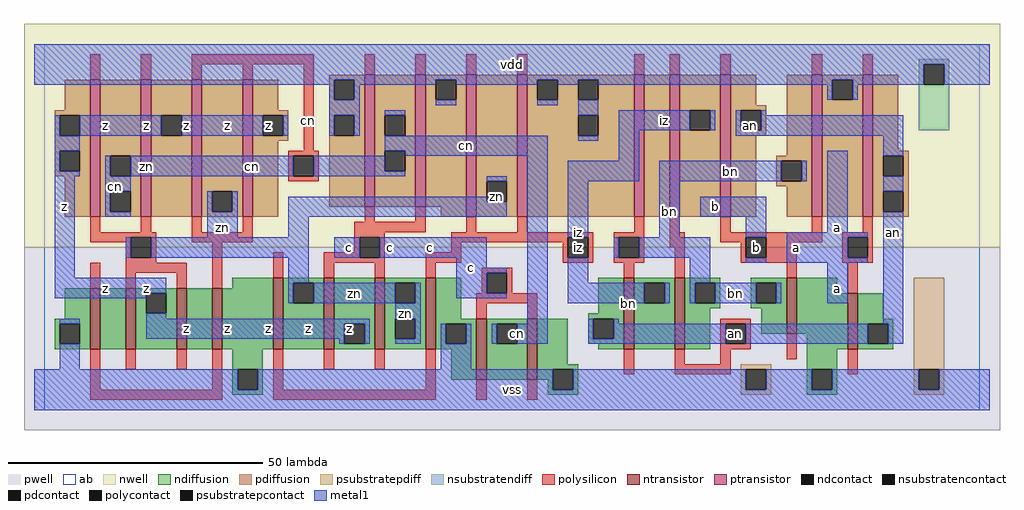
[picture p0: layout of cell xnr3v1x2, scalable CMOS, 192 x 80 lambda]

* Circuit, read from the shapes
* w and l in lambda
.subckt xnr3v1x2 a an b bn c cn iz vdd vss z zn
M1 n1 cn vss vss nfet w=12 l=2
M2 z zn n1 vss nfet w=12 l=2
M3 n2 zn z vss nfet w=12 l=2
M4 vss cn n2 vss nfet w=12 l=2
M5 zn iz vss vss nfet w=14 l=2 m=2
M6 z c zn vss nfet w=14 l=2 m=2
M7 cn c vss vss nfet w=12 l=2 m=2
M8 iz bn an vss nfet w=14 l=2
M9 bn an iz vss nfet w=14 l=2
M10 vss b bn vss nfet w=11 l=2
M11 an a vss vss nfet w=11 l=2
M12 cn zn z vdd pfet w=27 l=2 m=2
M13 zn cn z vdd pfet w=27 l=2 m=2
M14 cn c vdd vdd pfet w=26 l=2 m=2
M15 zn iz vdd vdd pfet w=28 l=2 m=2
M16 n3 bn vdd vdd pfet w=28 l=2
M17 iz an n3 vdd pfet w=28 l=2
M18 an b iz vdd pfet w=28 l=2
M19 vdd b bn vdd pfet w=28 l=2
M20 an a vdd vdd pfet w=28 l=2
.ends

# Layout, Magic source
magic
tech scmos
<< ab >>
rect 0 0 184 72
<< pwell >>
rect -4 -4 188 32
<< nwell >>
rect -4 32 188 76
<< polysilicon >>
rect 9 65 11 70
rect 19 65 21 70
rect 29 68 53 70
rect 29 65 31 68
rect 39 65 41 68
rect 51 51 53 68
rect 63 66 65 70
rect 73 66 75 70
rect 83 66 85 70
rect 93 66 95 70
rect 116 66 118 70
rect 123 66 125 70
rect 133 66 135 70
rect 151 66 153 70
rect 161 66 163 70
rect 48 50 54 51
rect 48 46 49 50
rect 53 46 54 50
rect 48 45 54 46
rect 9 35 11 38
rect 19 35 21 38
rect 29 35 31 38
rect 39 35 41 38
rect 63 37 65 40
rect 73 37 75 40
rect 9 34 22 35
rect 9 33 17 34
rect 16 30 17 33
rect 21 30 22 34
rect 29 33 41 35
rect 61 35 75 37
rect 83 35 85 38
rect 93 35 95 38
rect 116 35 118 38
rect 61 34 67 35
rect 16 29 22 30
rect 9 24 11 29
rect 16 27 28 29
rect 16 24 18 27
rect 26 24 28 27
rect 33 24 35 33
rect 61 31 62 34
rect 45 26 47 31
rect 55 30 62 31
rect 66 30 67 34
rect 80 34 108 35
rect 80 33 103 34
rect 80 31 82 33
rect 55 29 67 30
rect 55 26 57 29
rect 65 26 67 29
rect 75 29 82 31
rect 102 30 103 33
rect 107 30 108 34
rect 102 29 108 30
rect 112 34 118 35
rect 112 30 113 34
rect 117 30 118 34
rect 123 35 125 38
rect 133 35 135 38
rect 151 35 153 38
rect 161 35 163 38
rect 123 32 126 35
rect 133 34 153 35
rect 133 33 138 34
rect 112 29 118 30
rect 75 26 77 29
rect 86 27 92 28
rect 86 23 87 27
rect 91 23 92 27
rect 114 26 116 29
rect 124 26 126 32
rect 137 30 138 33
rect 142 33 153 34
rect 157 34 163 35
rect 142 30 148 33
rect 137 29 148 30
rect 157 30 158 34
rect 162 30 163 34
rect 157 29 163 30
rect 146 26 148 29
rect 85 21 97 23
rect 85 18 87 21
rect 95 18 97 21
rect 9 4 11 12
rect 16 8 18 12
rect 26 8 28 12
rect 33 4 35 12
rect 9 2 35 4
rect 45 4 47 12
rect 55 8 57 12
rect 65 8 67 12
rect 75 4 77 12
rect 133 17 139 18
rect 133 13 134 17
rect 138 13 139 17
rect 158 23 160 29
rect 133 12 139 13
rect 45 2 77 4
rect 85 2 87 6
rect 95 2 97 6
rect 114 7 116 12
rect 124 9 126 12
rect 133 9 135 12
rect 146 10 148 15
rect 124 7 135 9
rect 158 7 160 12
<< ndiffusion >>
rect 37 24 45 26
rect 4 18 9 24
rect 2 17 9 18
rect 2 13 3 17
rect 7 13 9 17
rect 2 12 9 13
rect 11 12 16 24
rect 18 23 26 24
rect 18 19 20 23
rect 24 19 26 23
rect 18 12 26 19
rect 28 12 33 24
rect 35 12 45 24
rect 47 25 55 26
rect 47 21 49 25
rect 53 21 55 25
rect 47 12 55 21
rect 57 17 65 26
rect 57 13 59 17
rect 63 13 65 17
rect 57 12 65 13
rect 67 25 75 26
rect 67 21 69 25
rect 73 21 75 25
rect 67 18 75 21
rect 67 14 69 18
rect 73 14 75 18
rect 67 12 75 14
rect 77 18 82 26
rect 109 19 114 26
rect 107 18 114 19
rect 77 17 85 18
rect 77 13 79 17
rect 83 13 85 17
rect 77 12 85 13
rect 37 8 43 12
rect 37 4 38 8
rect 42 4 43 8
rect 37 3 43 4
rect 80 6 85 12
rect 87 17 95 18
rect 87 13 89 17
rect 93 13 95 17
rect 87 6 95 13
rect 97 9 103 18
rect 107 14 108 18
rect 112 14 114 18
rect 107 13 114 14
rect 109 12 114 13
rect 116 25 124 26
rect 116 21 118 25
rect 122 21 124 25
rect 116 12 124 21
rect 126 25 133 26
rect 126 21 128 25
rect 132 21 133 25
rect 126 20 133 21
rect 139 25 146 26
rect 139 21 140 25
rect 144 21 146 25
rect 139 20 146 21
rect 126 12 131 20
rect 141 15 146 20
rect 148 23 156 26
rect 148 15 158 23
rect 97 8 105 9
rect 97 6 100 8
rect 99 4 100 6
rect 104 4 105 8
rect 150 12 158 15
rect 160 18 165 23
rect 160 17 167 18
rect 160 13 162 17
rect 166 13 167 17
rect 160 12 167 13
rect 99 3 105 4
rect 150 8 156 12
rect 150 4 151 8
rect 155 4 156 8
rect 150 3 156 4
<< pdiffusion >>
rect 4 59 9 65
rect 2 58 9 59
rect 2 54 3 58
rect 7 54 9 58
rect 2 51 9 54
rect 2 47 3 51
rect 7 47 9 51
rect 2 46 9 47
rect 4 38 9 46
rect 11 50 19 65
rect 11 46 13 50
rect 17 46 19 50
rect 11 43 19 46
rect 11 39 13 43
rect 17 39 19 43
rect 11 38 19 39
rect 21 58 29 65
rect 21 54 23 58
rect 27 54 29 58
rect 21 38 29 54
rect 31 43 39 65
rect 31 39 33 43
rect 37 39 39 43
rect 31 38 39 39
rect 41 59 46 65
rect 41 58 48 59
rect 41 54 43 58
rect 47 54 48 58
rect 41 53 48 54
rect 41 38 46 53
rect 56 65 63 66
rect 56 61 57 65
rect 61 61 63 65
rect 56 58 63 61
rect 56 54 57 58
rect 61 54 63 58
rect 56 40 63 54
rect 65 58 73 66
rect 65 54 67 58
rect 71 54 73 58
rect 65 51 73 54
rect 65 47 67 51
rect 71 47 73 51
rect 65 40 73 47
rect 75 65 83 66
rect 75 61 77 65
rect 81 61 83 65
rect 75 40 83 61
rect 78 38 83 40
rect 85 45 93 66
rect 85 41 87 45
rect 91 41 93 45
rect 85 38 93 41
rect 95 65 116 66
rect 95 61 97 65
rect 101 61 105 65
rect 109 61 116 65
rect 95 58 116 61
rect 95 54 105 58
rect 109 54 116 58
rect 95 38 116 54
rect 118 38 123 66
rect 125 59 133 66
rect 125 55 127 59
rect 131 55 133 59
rect 125 38 133 55
rect 135 60 140 66
rect 135 59 142 60
rect 135 55 137 59
rect 141 55 142 59
rect 135 54 142 55
rect 135 38 140 54
rect 146 50 151 66
rect 144 49 151 50
rect 144 45 145 49
rect 149 45 151 49
rect 144 44 151 45
rect 146 38 151 44
rect 153 65 161 66
rect 153 61 155 65
rect 159 61 161 65
rect 153 38 161 61
rect 163 51 168 66
rect 163 50 170 51
rect 163 46 165 50
rect 169 46 170 50
rect 163 43 170 46
rect 163 39 165 43
rect 169 39 170 43
rect 163 38 170 39
<< metal1 >>
rect -2 68 186 72
rect -2 65 173 68
rect -2 64 57 65
rect 56 61 57 64
rect 61 64 77 65
rect 61 61 62 64
rect 56 58 62 61
rect 81 64 97 65
rect 77 60 81 61
rect 101 64 105 65
rect 97 60 101 61
rect 109 64 155 65
rect 154 61 155 64
rect 159 64 173 65
rect 177 64 186 68
rect 159 61 160 64
rect 2 54 3 58
rect 7 54 23 58
rect 27 54 43 58
rect 47 54 48 58
rect 56 54 57 58
rect 61 54 62 58
rect 67 58 71 59
rect 105 58 109 61
rect 2 51 7 54
rect 2 47 3 51
rect 67 51 99 54
rect 105 53 109 54
rect 113 55 127 59
rect 131 55 132 59
rect 136 55 137 59
rect 141 58 142 59
rect 141 55 169 58
rect 2 46 7 47
rect 12 46 13 50
rect 17 46 49 50
rect 53 47 67 50
rect 71 50 99 51
rect 53 46 71 47
rect 2 26 6 46
rect 12 43 17 46
rect 87 45 91 46
rect 12 39 13 43
rect 12 38 17 39
rect 32 39 33 43
rect 37 39 38 43
rect 32 34 38 39
rect 48 41 87 42
rect 48 38 91 41
rect 48 34 52 38
rect 16 30 17 34
rect 21 30 52 34
rect 57 30 62 34
rect 66 30 87 34
rect 2 23 24 26
rect 2 22 20 23
rect 48 25 52 30
rect 81 28 87 30
rect 81 27 91 28
rect 48 21 49 25
rect 53 21 69 25
rect 73 21 74 25
rect 81 23 87 27
rect 81 22 91 23
rect 20 18 24 19
rect 69 18 74 21
rect 3 17 7 18
rect 20 17 64 18
rect 20 14 59 17
rect 58 13 59 14
rect 63 13 64 17
rect 73 14 74 18
rect 95 17 99 50
rect 113 49 117 55
rect 136 54 169 55
rect 103 45 117 49
rect 121 45 145 49
rect 149 45 150 49
rect 103 34 107 45
rect 121 34 125 45
rect 129 38 142 42
rect 138 34 142 38
rect 154 35 158 51
rect 165 50 169 54
rect 165 43 169 46
rect 112 30 113 34
rect 117 30 131 34
rect 103 25 107 30
rect 127 25 131 30
rect 138 29 142 30
rect 146 34 162 35
rect 146 30 158 34
rect 146 29 162 30
rect 103 21 118 25
rect 122 21 123 25
rect 127 21 128 25
rect 132 21 140 25
rect 144 21 145 25
rect 154 21 158 29
rect 69 13 74 14
rect 78 13 79 17
rect 83 13 84 17
rect 88 13 89 17
rect 93 13 99 17
rect 107 14 108 18
rect 112 17 113 18
rect 165 17 169 39
rect 112 14 134 17
rect 107 13 134 14
rect 138 13 162 17
rect 166 13 169 17
rect 3 8 7 13
rect 78 8 84 13
rect -2 4 38 8
rect 42 4 100 8
rect 104 4 138 8
rect 142 4 151 8
rect 155 4 172 8
rect 176 4 186 8
rect -2 0 186 4
<< ntransistor >>
rect 9 12 11 24
rect 16 12 18 24
rect 26 12 28 24
rect 33 12 35 24
rect 45 12 47 26
rect 55 12 57 26
rect 65 12 67 26
rect 75 12 77 26
rect 85 6 87 18
rect 95 6 97 18
rect 114 12 116 26
rect 124 12 126 26
rect 146 15 148 26
rect 158 12 160 23
<< ptransistor >>
rect 9 38 11 65
rect 19 38 21 65
rect 29 38 31 65
rect 39 38 41 65
rect 63 40 65 66
rect 73 40 75 66
rect 83 38 85 66
rect 93 38 95 66
rect 116 38 118 66
rect 123 38 125 66
rect 133 38 135 66
rect 151 38 153 66
rect 161 38 163 66
<< polycontact >>
rect 49 46 53 50
rect 17 30 21 34
rect 62 30 66 34
rect 103 30 107 34
rect 113 30 117 34
rect 87 23 91 27
rect 138 30 142 34
rect 158 30 162 34
rect 134 13 138 17
<< ndcontact >>
rect 3 13 7 17
rect 20 19 24 23
rect 49 21 53 25
rect 59 13 63 17
rect 69 21 73 25
rect 69 14 73 18
rect 79 13 83 17
rect 38 4 42 8
rect 89 13 93 17
rect 108 14 112 18
rect 118 21 122 25
rect 128 21 132 25
rect 140 21 144 25
rect 100 4 104 8
rect 162 13 166 17
rect 151 4 155 8
<< pdcontact >>
rect 3 54 7 58
rect 3 47 7 51
rect 13 46 17 50
rect 13 39 17 43
rect 23 54 27 58
rect 33 39 37 43
rect 43 54 47 58
rect 57 61 61 65
rect 57 54 61 58
rect 67 54 71 58
rect 67 47 71 51
rect 77 61 81 65
rect 87 41 91 45
rect 97 61 101 65
rect 105 61 109 65
rect 105 54 109 58
rect 127 55 131 59
rect 137 55 141 59
rect 145 45 149 49
rect 155 61 159 65
rect 165 46 169 50
rect 165 39 169 43
<< psubstratepcontact >>
rect 138 4 142 8
rect 172 4 176 8
<< nsubstratencontact >>
rect 173 64 177 68
<< psubstratepdiff >>
rect 137 8 143 9
rect 137 4 138 8
rect 142 4 143 8
rect 137 3 143 4
rect 171 8 177 26
rect 171 4 172 8
rect 176 4 177 8
rect 171 3 177 4
<< nsubstratendiff >>
rect 172 68 178 69
rect 172 64 173 68
rect 177 64 178 68
rect 172 55 178 64
<< labels >>
rlabel ptransistor 20 48 20 48 6 zn
rlabel polysilicon 52 57 52 57 6 cn
rlabel ntransistor 115 21 115 21 6 bn
rlabel polycontact 105 32 105 32 6 iz
rlabel polycontact 136 15 136 15 6 an
rlabel metal1 28 16 28 16 6 z
rlabel metal1 20 24 20 24 6 z
rlabel metal1 12 24 12 24 6 z
rlabel metal1 4 40 4 40 6 z
rlabel metal1 14 44 14 44 6 cn
rlabel metal1 28 56 28 56 6 z
rlabel metal1 20 56 20 56 6 z
rlabel metal1 12 56 12 56 6 z
rlabel ndcontact 60 16 60 16 6 z
rlabel metal1 52 16 52 16 6 z
rlabel metal1 44 16 44 16 6 z
rlabel metal1 36 16 36 16 6 z
rlabel metal1 68 32 68 32 6 c
rlabel metal1 60 32 60 32 6 c
rlabel metal1 35 36 35 36 6 zn
rlabel metal1 41 48 41 48 6 cn
rlabel pdcontact 44 56 44 56 6 z
rlabel metal1 36 56 36 56 6 z
rlabel metal1 92 4 92 4 6 vss
rlabel metal1 93 15 93 15 6 cn
rlabel metal1 71 19 71 19 6 zn
rlabel metal1 61 23 61 23 6 zn
rlabel metal1 84 28 84 28 6 c
rlabel metal1 76 32 76 32 6 c
rlabel pdcontact 89 42 89 42 6 zn
rlabel metal1 105 35 105 35 6 iz
rlabel metal1 83 52 83 52 6 cn
rlabel metal1 92 68 92 68 6 vdd
rlabel metal1 113 23 113 23 6 iz
rlabel metal1 136 23 136 23 6 bn
rlabel polycontact 140 32 140 32 6 b
rlabel metal1 132 40 132 40 6 b
rlabel metal1 123 39 123 39 6 bn
rlabel pdcontact 139 56 139 56 6 an
rlabel metal1 122 57 122 57 6 iz
rlabel metal1 138 15 138 15 6 an
rlabel metal1 156 24 156 24 6 a
rlabel metal1 148 32 148 32 6 a
rlabel metal1 156 36 156 36 6 a
rlabel metal1 135 47 135 47 6 bn
rlabel metal1 167 35 167 35 6 an
<< end >>
